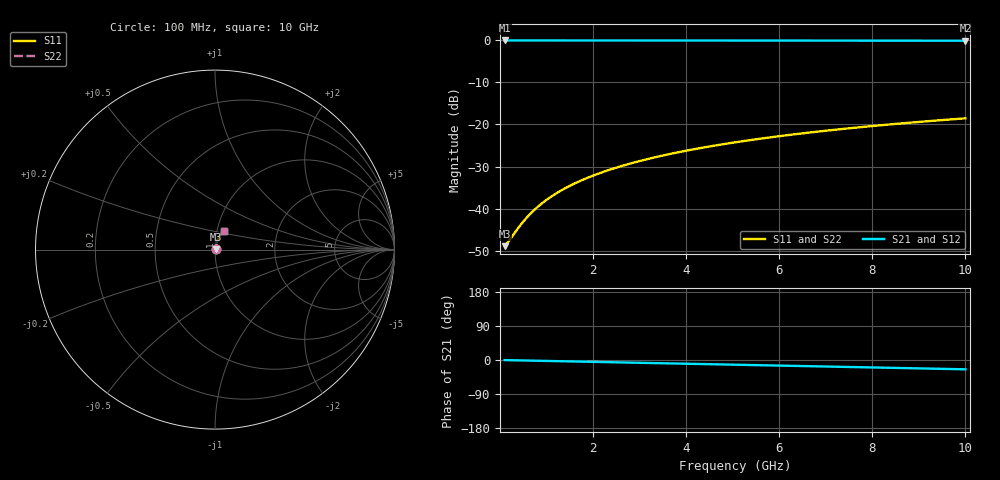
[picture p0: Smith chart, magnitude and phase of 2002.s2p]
# Hz S RI R 50.00
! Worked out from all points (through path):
!   100 points, 100 MHz to 10 GHz, reference 50 ohm
!   highest |S21| = -0.03 dB at 100 MHz (marker M1); lowest = -0.1 dB at 10 GHz (marker M2)
!   group delay of S21, straight-line fit = 6.83 ps
!   lowest |S11| = -48.9 dB at 100 MHz (marker M3), VSWR 1.01, Z = 50.3 + j0.122 ohm
!   |S11| at or under -10 dB: start of sweep to end of sweep
!   |S22| runs from -48.9 to -18.5 dB; largest |S21 - S12| = 0
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1e8  0.00337 0.00121  0.9966 -0.00427  0.9966 -0.00427  0.00337 0.00121
2e8  0.00341 0.00242  0.9966 -0.00855  0.9966 -0.00855  0.00341 0.00242
4e8  0.0035 0.00483  0.9964 -0.0171  0.9964 -0.0171  0.0035 0.00483
5e8  0.00355 0.00604  0.9963 -0.0214  0.9963 -0.0214  0.00355 0.00604
6e8  0.00362 0.00725  0.9962 -0.0256  0.9962 -0.0256  0.00362 0.00725
7e8  0.00369 0.00845  0.9961 -0.0299  0.9961 -0.0299  0.00369 0.00845
8e8  0.00378 0.00966  0.9959 -0.0342  0.9959 -0.0342  0.00378 0.00966
1e9  0.00398 0.0121  0.9955 -0.0427  0.9955 -0.0427  0.00398 0.0121
1.2e9  0.00422 0.0145  0.9951 -0.0512  0.9951 -0.0512  0.00422 0.0145
1.5e9  0.00465 0.0181  0.9942 -0.064  0.9942 -0.064  0.00465 0.0181
1.8e9  0.00518 0.0217  0.9932 -0.0768  0.9932 -0.0768  0.00518 0.0217
2.1e9  0.00579 0.0252  0.9921 -0.0896  0.9921 -0.0896  0.00579 0.0252
2.5e9  0.00675 0.03  0.9902 -0.1066  0.9902 -0.1066  0.00675 0.03
2.9e9  0.00788 0.0347  0.9881 -0.1235  0.9881 -0.1235  0.00788 0.0347
3.4e9  0.00951 0.0405  0.9849 -0.1447  0.9849 -0.1447  0.00951 0.0405
4.2e9  0.0126 0.0496  0.9789 -0.1783  0.9789 -0.1783  0.0126 0.0496
5.1e9  0.0169 0.0596  0.9707 -0.2158  0.9707 -0.2158  0.0169 0.0596
5.9e9  0.0213 0.0681  0.9621 -0.2488  0.9621 -0.2488  0.0213 0.0681
6.7e9  0.0263 0.0764  0.9522 -0.2815  0.9522 -0.2815  0.0263 0.0764
7.5e9  0.0318 0.0843  0.9412 -0.3137  0.9412 -0.3137  0.0318 0.0843
8.4e9  0.0387 0.0927  0.9275 -0.3494  0.9275 -0.3494  0.0387 0.0927
1e10  0.0524 0.1062  0.8996 -0.4112  0.8996 -0.4112  0.0524 0.1062
